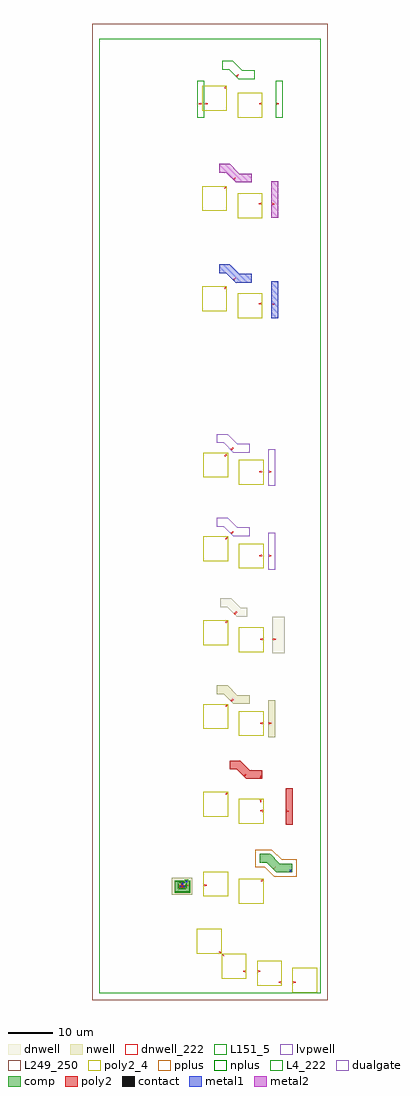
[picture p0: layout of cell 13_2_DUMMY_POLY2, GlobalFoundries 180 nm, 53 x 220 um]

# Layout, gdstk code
import gdstk
lib = gdstk.Library(unit=1e-6, precision=1e-09)
def R(c, l, rs):  # rectangles x0, y0, x1, y1
    for r in rs: c.add(gdstk.rectangle(r[:2], r[2:], *l))
def A(c, l, x, y, w, h, nx, ny, dx, dy):  # array of equal rectangles
    R(c, l, [(x+i*dx, y+j*dy, x+i*dx+w, y+j*dy+h) for i in range(nx) for j in range(ny)])
def P(c, l, *ps):  # polygons
    for p in ps: c.add(gdstk.Polygon(p, *l))
L4_222 = (4, 222)
dnwell = (12, 0)
dnwell_222 = (12, 222)
nwell = (21, 0)
comp = (22, 0)
poly2 = (30, 0)
poly2_4 = (30, 4)
pplus = (31, 0)
nplus = (32, 0)
contact = (33, 0)
metal1 = (34, 0)
metal2 = (36, 0)
dualgate = (55, 0)
L151_5 = (151, 5)
lvpwell = (204, 0)
L249_250 = (249, 250)

m1_poly2__120337452 = lib.new_cell('M1_POLY2$$120337452')
R(m1_poly2__120337452, poly2, [(-0.21,-0.21,0.21,0.21)])
R(m1_poly2__120337452, contact, [(-0.11,-0.11,0.11,0.11)])
R(m1_poly2__120337452, metal1, [(-0.19,-0.19,0.19,0.19)])

m1_pactive__120339500 = lib.new_cell('M1_PACTIVE$$120339500')
R(m1_pactive__120339500, comp, [(-0.29,-0.29,0.29,0.29)])
R(m1_pactive__120339500, pplus, [(-0.45,-0.45,0.45,0.45)])
R(m1_pactive__120339500, contact, [(-0.11,-0.11,0.11,0.11)])
R(m1_pactive__120339500, metal1, [(-0.19,-0.19,0.19,0.19)])

poly2_dummy = lib.new_cell('POLY2_DUMMY')
A(poly2_dummy, L4_222, -50, 0, 15, 15, 1, 8, 0, 18.89)
A(poly2_dummy, L4_222, -35, 0, 35, 15, 1, 8, 0, 18.89)
A(poly2_dummy, L4_222, -50, 15, 50, 3.89, 1, 8, 0, 18.89)
R(poly2_dummy, L4_222, [(-50,151.12,-35,169.825), (-35,151.12,0,169.825), (-50,169.825,0,173.715), (-50,173.715,-35,192.42), (-35,173.715,0,192.42), (-50,192.42,0,196.31), (-50,196.31,-35,211.31), (-35,196.31,0,211.31), (-50,211.31,0,215.2)])
R(poly2_dummy, dnwell, [(-10.92,76.635,-8.19,84.92)])
P(poly2_dummy, dnwell, [(-18.925,84.915),(-21.075,87.065),(-22.635,87.065),(-22.635,89.08),(-20.25,89.08),(-18.09,86.92),(-16.605,86.92),(-16.605,84.915)])
P(poly2_dummy, dnwell_222, [(-13.7,43.11),(-13.7,43.59),(-13.82,43.59),(-13.58,43.83),(-13.34,43.59),(-13.46,43.59),(-13.46,43.11)],
  [(-19.77,160.75),(-19.77,161.089),(-19.685,161.005),(-19.346,161.344),(-19.176,161.174),(-19.515,160.835),(-19.431,160.75)],
  [(-14.14,4.715),(-14.38,4.955),(-14.14,5.195),(-14.14,5.075),(-13.66,5.075),(-13.66,4.835),(-14.14,4.835)],
  [(-10.98,155.095),(-11.22,155.335),(-10.98,155.575),(-10.98,155.455),(-10.5,155.455),(-10.5,155.215),(-10.98,155.215)],
  [(-10.77,27.965),(-10.77,28.304),(-10.685,28.22),(-10.346,28.559),(-10.176,28.389),(-10.515,28.05),(-10.431,27.965)],
  [(-13.359,25.176),(-13.529,25.346),(-13.19,25.685),(-13.274,25.77),(-12.935,25.77),(-12.935,25.431),(-13.02,25.515)],
  [(-21.634,158.736),(-21.804,158.906),(-21.465,159.245),(-21.549,159.33),(-21.21,159.33),(-21.21,158.991),(-21.295,159.075)],
  [(-13.57,48.32),(-13.81,48.56),(-13.69,48.56),(-13.69,49.04),(-13.45,49.04),(-13.45,48.56),(-13.33,48.56)],
  [(-17.015,4.72),(-17.015,4.84),(-17.495,4.84),(-17.495,5.08),(-17.015,5.08),(-17.015,5.2),(-16.775,4.96)],
  [(-9.02,2.285),(-9.02,2.405),(-9.5,2.405),(-9.5,2.645),(-9.02,2.645),(-9.02,2.765),(-8.78,2.525)],
  [(-6.19,2.265),(-6.43,2.505),(-6.19,2.745),(-6.19,2.625),(-5.71,2.625),(-5.71,2.385),(-6.19,2.385)],
  [(-22.724,8.945),(-22.64,9.03),(-22.979,9.369),(-22.809,9.539),(-22.47,9.2),(-22.385,9.284),(-22.385,8.945)],
  [(-21.951,8.341),(-22.29,8.68),(-22.375,8.596),(-22.375,8.935),(-22.036,8.935),(-22.12,8.85),(-21.781,8.511)],
  [(-26.17,24.125),(-26.41,24.365),(-26.17,24.605),(-26.17,24.485),(-25.69,24.485),(-25.69,24.245),(-26.17,24.245)],
  [(-29.86,24.125),(-29.86,24.245),(-30.34,24.245),(-30.34,24.485),(-29.86,24.485),(-29.86,24.605),(-29.62,24.365)],
  [(-21.355,64.555),(-21.525,64.725),(-21.186,65.064),(-21.27,65.149),(-20.931,65.149),(-20.931,64.81),(-21.016,64.894)],
  [(-13.17,60.665),(-13.17,60.785),(-13.65,60.785),(-13.65,61.025),(-13.17,61.025),(-13.17,61.145),(-12.93,60.905)],
  [(-20.275,65.8),(-20.275,66.139),(-20.19,66.055),(-19.851,66.394),(-19.681,66.224),(-20.02,65.885),(-19.936,65.8)],
  [(-11.68,60.645),(-11.92,60.885),(-11.68,61.125),(-11.68,61.005),(-11.2,61.005),(-11.2,60.765),(-11.68,60.765)],
  [(-21.355,44.76),(-21.525,44.93),(-21.186,45.269),(-21.27,45.354),(-20.931,45.354),(-20.931,45.015),(-21.016,45.099)],
  [(-7.68,40.85),(-7.92,41.09),(-7.68,41.33),(-7.68,41.21),(-7.2,41.21),(-7.2,40.97),(-7.68,40.97)],
  [(-17.395,48.885),(-17.395,49.224),(-17.31,49.14),(-16.971,49.479),(-16.801,49.309),(-17.14,48.97),(-17.056,48.885)],
  [(-13.17,40.87),(-13.17,40.99),(-13.65,40.99),(-13.65,41.23),(-13.17,41.23),(-13.17,41.35),(-12.93,41.11)],
  [(-19.485,85.48),(-19.485,85.819),(-19.4,85.735),(-19.061,86.074),(-18.891,85.904),(-19.23,85.565),(-19.146,85.48)],
  [(-10.68,79.535),(-10.92,79.775),(-10.68,80.015),(-10.68,79.895),(-10.2,79.895),(-10.2,79.655),(-10.68,79.655)],
  [(-13.17,79.555),(-13.17,79.675),(-13.65,79.675),(-13.65,79.915),(-13.17,79.915),(-13.17,80.035),(-12.93,79.795)],
  [(-21.355,83.445),(-21.525,83.615),(-21.186,83.954),(-21.27,84.039),(-20.931,84.039),(-20.931,83.7),(-21.016,83.784)],
  [(-11.68,98.425),(-11.92,98.665),(-11.68,98.905),(-11.68,98.785),(-11.2,98.785),(-11.2,98.545),(-11.68,98.545)],
  [(-13.41,98.445),(-13.41,98.565),(-13.89,98.565),(-13.89,98.805),(-13.41,98.805),(-13.41,98.925),(-13.17,98.685)],
  [(-21.439,102.252),(-21.609,102.422),(-21.27,102.761),(-21.354,102.846),(-21.015,102.846),(-21.015,102.507),(-21.1,102.591)],
  [(-20.275,103.58),(-20.275,103.919),(-20.19,103.835),(-19.851,104.174),(-19.681,104.004),(-20.02,103.665),(-19.936,103.58)],
  [(-21.609,120.971),(-21.779,121.141),(-21.44,121.48),(-21.524,121.565),(-21.185,121.565),(-21.185,121.226),(-21.27,121.31)],
  [(-13.41,117.335),(-13.41,117.455),(-13.89,117.455),(-13.89,117.695),(-13.41,117.695),(-13.41,117.815),(-13.17,117.575)],
  [(-11.68,117.315),(-11.92,117.555),(-11.68,117.795),(-11.68,117.675),(-11.2,117.675),(-11.2,117.435),(-11.68,117.435)],
  [(-20.275,122.47),(-20.275,122.809),(-20.19,122.725),(-19.851,123.064),(-19.681,122.894),(-20.02,122.555),(-19.936,122.47)],
  [(-21.634,181.331),(-21.804,181.501),(-21.465,181.84),(-21.549,181.925),(-21.21,181.925),(-21.21,181.586),(-21.295,181.67)],
  [(-13.48,155.185),(-13.48,155.305),(-13.96,155.305),(-13.96,155.545),(-13.48,155.545),(-13.48,155.665),(-13.24,155.425)],
  [(-13.41,200.305),(-13.41,200.425),(-13.89,200.425),(-13.89,200.665),(-13.41,200.665),(-13.41,200.785),(-13.17,200.545)],
  [(-21.609,203.941),(-21.779,204.111),(-21.44,204.45),(-21.524,204.535),(-21.185,204.535),(-21.185,204.196),(-21.27,204.28)],
  [(-9.95,200.285),(-10.19,200.525),(-9.95,200.765),(-9.95,200.645),(-9.47,200.645),(-9.47,200.405),(-9.95,200.405)],
  [(-19.08,206.635),(-19.08,206.974),(-18.995,206.89),(-18.656,207.229),(-18.486,207.059),(-18.825,206.72),(-18.741,206.635)],
  [(-25.97,200.285),(-26.21,200.525),(-25.97,200.765),(-25.97,200.645),(-25.49,200.645),(-25.49,200.405),(-25.97,200.405)],
  [(-27.04,200.305),(-27.04,200.425),(-27.52,200.425),(-27.52,200.665),(-27.04,200.665),(-27.04,200.785),(-26.8,200.545)],
  [(-13.48,177.78),(-13.48,177.9),(-13.96,177.9),(-13.96,178.14),(-13.48,178.14),(-13.48,178.26),(-13.24,178.02)],
  [(-10.98,177.69),(-11.22,177.93),(-10.98,178.17),(-10.98,178.05),(-10.5,178.05),(-10.5,177.81),(-10.98,177.81)],
  [(-19.77,183.345),(-19.77,183.684),(-19.685,183.6),(-19.346,183.939),(-19.176,183.769),(-19.515,183.43),(-19.431,183.345)])
R(poly2_dummy, nwell, [(-33.665,22.25,-29,26.07), (-11.92,57.745,-10.305,66.03)])
P(poly2_dummy, nwell, [(-19.715,65.235),(-21.865,67.385),(-23.425,67.385),(-23.425,69.4),(-21.04,69.4),(-18.88,67.24),(-16.095,67.24),(-16.095,65.235)])
P(poly2_dummy, comp, [(-10.1,27.245),(-12.25,29.395),(-13.83,29.395),(-13.83,31.41),(-11.445,31.41),(-9.285,29.25),(-6.5,29.25),(-6.5,27.245)],
  [(-32.89,22.87),(-32.89,25.22),(-32.16,25.22),(-32.16,23.55),(-30.3,23.55),(-30.3,25),(-32.16,25),(-32.16,25.22),(-30.53,25.22),(-30.53,25.45),(-30.08,25.45),(-30.08,25.22),(-29.62,25.22),(-29.62,22.87)],
  [(-31.84,23.87),(-31.84,24.29),(-31.42,24.29),(-31.42,24.19),(-31.04,24.19),(-31.04,24.29),(-30.62,24.29),(-30.62,23.87),(-31.04,23.87),(-31.04,23.97),(-31.42,23.97),(-31.42,23.87)])
R(poly2_dummy, poly2, [(-31.32,23.75,-31.14,24.48), (-7.92,37.95,-6.305,46.235)])
P(poly2_dummy, poly2, [(-16.835,48.32),(-18.985,50.47),(-20.545,50.47),(-20.545,52.485),(-18.16,52.485),(-16,50.325),(-13.215,50.325),(-13.215,48.32)])
A(poly2_dummy, poly2_4, -18.47, 58.015, 5.6, 5.6, 1, 4, 0, 18.89)
A(poly2_dummy, poly2_4, -26.47, 59.615, 5.6, 5.6, 1, 4, 0, 18.89)
A(poly2_dummy, poly2_4, -18.77, 152.165, 5.6, 5.6, 1, 3, 0, 22.595)
A(poly2_dummy, poly2_4, -26.77, 153.765, 5.6, 5.6, 1, 3, 0, 22.595)
R(poly2_dummy, poly2_4, [(-6.43,0.15,-0.83,5.75), (-14.38,1.75,-8.78,7.35), (-22.375,3.335,-16.775,8.935), (-27.975,8.935,-22.375,14.535), (-18.47,20.235,-12.87,25.835), (-26.47,21.835,-20.87,27.435), (-18.47,38.22,-12.87,43.82), (-26.47,39.82,-20.87,45.42)])
R(poly2_dummy, pplus, [(-32,23.71,-30.46,24.45)])
P(poly2_dummy, pplus, [(-10.514,26.245),(-12.664,28.395),(-14.83,28.395),(-14.83,32.41),(-11.031,32.41),(-8.871,30.25),(-5.5,30.25),(-5.5,26.245)])
P(poly2_dummy, nplus, [(-32.89,22.71),(-32.89,25.38),(-32,25.38),(-32,23.71),(-30.46,23.71),(-30.46,24.84),(-32,24.84),(-32,25.38),(-30.69,25.38),(-30.69,25.61),(-29.92,25.61),(-29.92,25.38),(-29.46,25.38),(-29.46,22.71)])
R(poly2_dummy, contact, [(-31.74,23.97,-31.52,24.19), (-30.94,23.97,-30.72,24.19), (-30.415,25.115,-30.195,25.335)])
R(poly2_dummy, metal1, [(-30.495,25.035,-30.115,25.415), (-11.22,152.195,-9.605,160.48)])
P(poly2_dummy, metal1, [(-19.21,160.185),(-21.36,162.335),(-22.92,162.335),(-22.92,164.35),(-20.535,164.35),(-18.375,162.19),(-15.59,162.19),(-15.59,160.185)])
R(poly2_dummy, metal2, [(-11.22,174.79,-9.605,183.075)])
P(poly2_dummy, metal2, [(-19.21,182.78),(-21.36,184.93),(-22.92,184.93),(-22.92,186.945),(-20.535,186.945),(-18.375,184.785),(-15.59,184.785),(-15.59,182.78)])
R(poly2_dummy, dualgate, [(-11.92,114.415,-10.305,122.7)])
P(poly2_dummy, dualgate, [(-19.715,121.905),(-21.865,124.055),(-23.425,124.055),(-23.425,126.07),(-21.04,126.07),(-18.88,123.91),(-16.095,123.91),(-16.095,121.905)])
R(poly2_dummy, L151_5, [(-27.855,197.385,-26.24,205.67), (-10.19,197.385,-8.575,205.67)])
P(poly2_dummy, L151_5, [(-18.52,206.07),(-20.67,208.22),(-22.23,208.22),(-22.23,210.235),(-19.845,210.235),(-17.685,208.075),(-14.9,208.075),(-14.9,206.07)])
R(poly2_dummy, lvpwell, [(-11.92,95.525,-10.305,103.81)])
P(poly2_dummy, lvpwell, [(-19.715,103.015),(-21.865,105.165),(-23.425,105.165),(-23.425,107.18),(-21.04,107.18),(-18.88,105.02),(-16.095,105.02),(-16.095,103.015)])
poly2_dummy.add(gdstk.FlexPath([(-30.83,23.89),(-30.83,24.27)], 0.38, ends="flush", simple_path=True, layer=34, datatype=0))  # metal1
poly2_dummy.add(gdstk.FlexPath([(-31.63,23.89),(-31.63,24.27)], 0.38, ends="flush", simple_path=True, layer=34, datatype=0))  # metal1
poly2_dummy.add(gdstk.Reference(m1_poly2__120337452, (-31.23,24.69)))
poly2_dummy.add(gdstk.Reference(m1_pactive__120339500, (-6.885,27.64)))
poly2_dummy.add(gdstk.Label('3 ERRs', (-36.255,7.801), layer=12, texttype=222))
poly2_dummy.add(gdstk.Label('2 ERRs', (-36.255,26.836), layer=12, texttype=222))
poly2_dummy.add(gdstk.Label('DPF.12 Space from dummy poly2 to metal1 2', (-0.4,171.901), layer=12, texttype=222))
poly2_dummy.add(gdstk.Label('2 ERRs', (-36.255,159.066), layer=12, texttype=222))
poly2_dummy.add(gdstk.Label('DPF.2 Space between dummy poly2 = 2.4', (-1,16.871), layer=12, texttype=222))
poly2_dummy.add(gdstk.Label('DPF.4 Space from dummy poly2 to COMP   3.2', (-1,35.966), layer=12, texttype=222))
poly2_dummy.add(gdstk.Label('2 ERRs', (-36.255,64.616), layer=12, texttype=222))
poly2_dummy.add(gdstk.Label('DPF.6a Space from dummy poly2 to Nwell boundary   1', (-1,73.746), layer=12, texttype=222))
poly2_dummy.add(gdstk.Label('3 ERRs', (-36.255,45.726), layer=12, texttype=222))
poly2_dummy.add(gdstk.Label('DPF.5 Space from dummy poly2 to poly2   5', (-1,54.856), layer=12, texttype=222))
poly2_dummy.add(gdstk.Label('DPF.6b Space from dummy poly2 to DNwell boundary  2', (-1,92.636), layer=12, texttype=222))
poly2_dummy.add(gdstk.Label('2 ERRs', (-36.255,83.506), layer=12, texttype=222))
poly2_dummy.add(gdstk.Label('DPF.6c Space from dummy poly2 to LVPwell boundary   1', (-1,111.526), layer=12, texttype=222))
poly2_dummy.add(gdstk.Label('2 ERRs', (-36.255,102.396), layer=12, texttype=222))
poly2_dummy.add(gdstk.Label('DPF.6d Space from dummy poly2 to Dualgate boundary   1', (-1,130.416), layer=12, texttype=222))
poly2_dummy.add(gdstk.Label('2 ERRs', (-36.255,121.286), layer=12, texttype=222))
poly2_dummy.add(gdstk.Label('3 ERRs', (-36.255,204.256), layer=12, texttype=222))
poly2_dummy.add(gdstk.Label('DPF.14 Minimum dummy poly2 space to IND_MK  3', (-1,214.556), layer=12, texttype=222))
poly2_dummy.add(gdstk.Label('DPF.15 Dummy poly2 should not exist under IND_MK layer', (-1,212.576), layer=12, texttype=222))
poly2_dummy.add(gdstk.Label('2 ERRs', (-36.255,181.661), layer=12, texttype=222))
poly2_dummy.add(gdstk.Label('DPF.13 Space from dummy poly2 to metal2   2', (-0.4,194.496), layer=12, texttype=222))

c_13_2_dummy_poly2 = lib.new_cell('13_2_DUMMY_POLY2')
R(c_13_2_dummy_poly2, L249_250, [(-53,0,0,218.2), (-53,0,0,220)])
c_13_2_dummy_poly2.add(gdstk.Reference(poly2_dummy, (-1.5,1.5)))

lib.write_gds('13_2_DUMMY_POLY2.gds')
